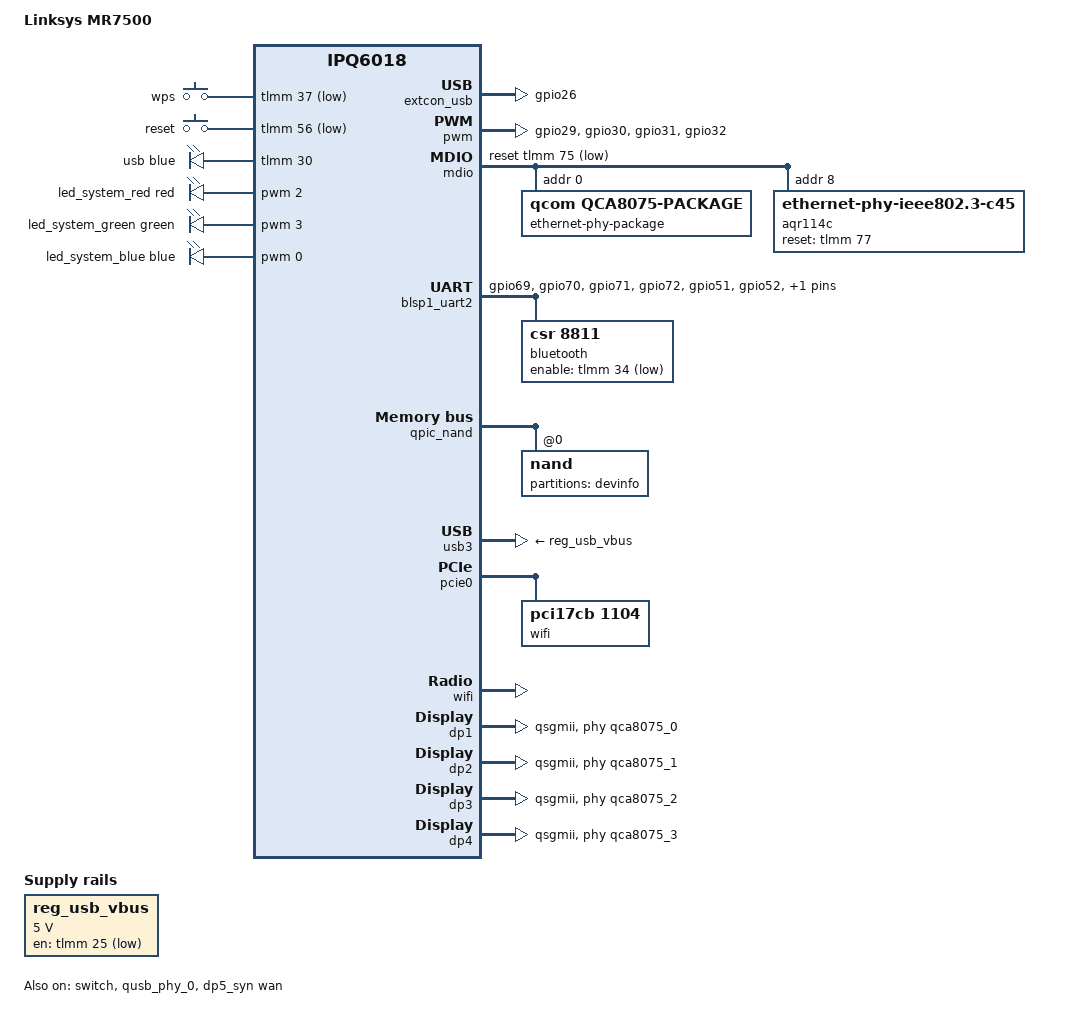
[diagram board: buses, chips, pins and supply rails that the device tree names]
// SPDX-License-Identifier: GPL-2.0-or-later OR MIT

/dts-v1/;

#include "ipq6018.dtsi"
#include "ipq6018-ess.dtsi"
#include "ipq6018-nss.dtsi"
#include "ipq6018-common.dtsi"
#include "ipq6018-cp-cpu.dtsi"

#include <dt-bindings/gpio/gpio.h>
#include <dt-bindings/input/input.h>
#include <dt-bindings/leds/common.h>

/ {
	model = "Linksys MR7500";
	compatible = "linksys,mr7500", "qcom,ipq6018";

	aliases {
		serial0 = &blsp1_uart3;
		serial1 = &blsp1_uart2;

		led-boot = &led_system_blue;
		led-running = &led_system_blue;
		led-failsafe = &led_system_red;
		led-upgrade = &led_system_green;

		label-mac-device = &dp5_syn;
	};

	chosen {
		stdout-path = "serial0:115200n8";
		bootargs-append = " root=/dev/ubiblock0_0";
	};

	extcon_usb {
		pinctrl-0 = <&extcon_usb_pins>;
		pinctrl-names = "default";
		id-gpios = <&tlmm 26 GPIO_ACTIVE_LOW>;
		status = "okay";
	};

	keys {
		compatible = "gpio-keys";

		wps {
			label = "wps";
			linux,code = <KEY_WPS_BUTTON>;
			gpios = <&tlmm 37 GPIO_ACTIVE_LOW>;
		};

		reset {
			label = "reset";
			linux,code = <KEY_RESTART>;
			gpios = <&tlmm 56 GPIO_ACTIVE_LOW>;
		};
	};

	leds {
		compatible = "pwm-leds";

		usb {
			color = <LED_COLOR_ID_BLUE>;
			function = LED_FUNCTION_USB;
			gpios = <&tlmm 30 GPIO_ACTIVE_HIGH>;
			pwms = <&pwm 1 650000>;
			max-brightness = <255>;
			trigger-sources = <&usb3_port1>, <&usb3_port2>;
			linux,default-trigger = "usbport";
		};

		led_system_red: system-red {
			color = <LED_COLOR_ID_RED>;
			function = LED_FUNCTION_INDICATOR;
			pwms = <&pwm 2 1250000>;
			max-brightness = <255>;
			panic-indicator;
		};

		led_system_green: system-green {
			color = <LED_COLOR_ID_GREEN>;
			function = LED_FUNCTION_INDICATOR;
			pwms = <&pwm 3 1250000>;
			max-brightness = <255>;
		};

		led_system_blue: system-blue {
			color = <LED_COLOR_ID_BLUE>;
			function = LED_FUNCTION_POWER;
			pwms = <&pwm 0 1250000>;
			max-brightness = <255>;
		};
	};

	reg_usb_vbus: regulator-usb-vbus {
		compatible = "regulator-fixed";
		regulator-name = "usb_vbus";
		regulator-min-microvolt = <5000000>;
		regulator-max-microvolt = <5000000>;
		gpios = <&tlmm 25 GPIO_ACTIVE_LOW>;
	};
};

&tlmm {
	btcoex_pins: btcoex-pins {
		mux_0 {
			pins = "gpio51";
			function = "pta1_1";
			drive-strength = <6>;
			bias-pull-down;
		};

		mux_1 {
			pins = "gpio52";
			function = "pta1_2";
			drive-strength = <6>;
			bias-pull-down;
		};

		mux_2 {
			pins = "gpio53";
			function = "pta1_0";
			drive-strength = <6>;
			bias-pull-down;
		};
	};

	extcon_usb_pins: extcon-usb-pins {
		pins = "gpio26";
		function = "gpio";
		drive-strength = <2>;
		bias-pull-down;
	};

	hsuart_pins: hsuart-pins {
		pins = "gpio69", "gpio70", "gpio71", "gpio72";
		function = "blsp1_uart";
		drive-strength = <8>;
		bias-disable;
	};

	pwm_pins: pwm-pins {
		/*LED_B*/
		mux_0 {
			pins = "gpio29";
			function = "pwm03";
			drive-strength = <8>;
			bias-pull-up;
		};

		/*LED_USB*/
		mux_1 {
			pins = "gpio30";
			function = "pwm13";
			drive-strength = <8>;
			bias-pull-down;
		};

		/*LED_R*/
		mux_2 {
			pins = "gpio31";
			function = "pwm23";
			drive-strength = <8>;
			bias-pull-down;
		};

		/*LED_G*/
		mux_3 {
			pins = "gpio32";
			function = "pwm33";
			drive-strength = <8>;
			bias-pull-down;
		};
	};
};

&pwm {
	pinctrl-0 = <&pwm_pins>;
	pinctrl-names = "default";
	#pwm-cells = <2>;
	status = "okay";
};

&mdio {
	pinctrl-0 = <&mdio_pins>;
	pinctrl-names = "default";
	reset-gpios = <&tlmm 75 GPIO_ACTIVE_LOW>;
	status = "okay";

	ethernet-phy-package {
		#address-cells = <1>;
		#size-cells = <0>;
		compatible = "qcom,qca8075-package";
		reg = <0>;

		qcom,package-mode = "qsgmii";

		qca8075_0: ethernet-phy@0 {
			compatible = "ethernet-phy-ieee802.3-c22";
			reg = <0>;

			leds {
				#address-cells = <1>;
				#size-cells = <0>;

				led@0 {
					reg = <0>;
					color = <LED_COLOR_ID_ORANGE>;
					function = LED_FUNCTION_LAN;
					default-state = "keep";
				};

				led@1 {
					reg = <1>;
					color = <LED_COLOR_ID_GREEN>;
					function = LED_FUNCTION_LAN;
					default-state = "keep";
				};
			};
		};

		qca8075_1: ethernet-phy@1 {
			compatible = "ethernet-phy-ieee802.3-c22";
			reg = <1>;

			leds {
				#address-cells = <1>;
				#size-cells = <0>;

				led@0 {
					reg = <0>;
					color = <LED_COLOR_ID_ORANGE>;
					function = LED_FUNCTION_LAN;
					default-state = "keep";
				};

				led@1 {
					reg = <1>;
					color = <LED_COLOR_ID_GREEN>;
					function = LED_FUNCTION_LAN;
					default-state = "keep";
				};
			};
		};

		qca8075_2: ethernet-phy@2 {
			compatible = "ethernet-phy-ieee802.3-c22";
			reg = <2>;

			leds {
				#address-cells = <1>;
				#size-cells = <0>;

				led@0 {
					reg = <0>;
					color = <LED_COLOR_ID_ORANGE>;
					function = LED_FUNCTION_LAN;
					default-state = "keep";
				};

				led@1 {
					reg = <1>;
					color = <LED_COLOR_ID_GREEN>;
					function = LED_FUNCTION_LAN;
					default-state = "keep";
				};
			};
		};

		qca8075_3: ethernet-phy@3 {
			compatible = "ethernet-phy-ieee802.3-c22";
			reg = <3>;

			leds {
				#address-cells = <1>;
				#size-cells = <0>;

				led@0 {
					reg = <0>;
					color = <LED_COLOR_ID_ORANGE>;
					function = LED_FUNCTION_LAN;
					default-state = "keep";
				};

				led@1 {
					reg = <1>;
					color = <LED_COLOR_ID_GREEN>;
					function = LED_FUNCTION_LAN;
					default-state = "keep";
				};
			};
		};
	};

	aqr114c: ethernet-phy@8 {
		reg = <8>;
		reset-gpios = <&tlmm 77 GPIO_ACTIVE_HIGH>;
		compatible = "ethernet-phy-ieee802.3-c45";
		firmware-name = "marvell/AQR114C.cld";

		leds {
			#address-cells = <1>;
			#size-cells = <0>;

			led@0 {
				reg = <0>;
				color = <LED_COLOR_ID_ORANGE>;
				function = LED_FUNCTION_WAN;
				default-state = "keep";
			};

			led@1 {
				reg = <1>;
				color = <LED_COLOR_ID_GREEN>;
				function = LED_FUNCTION_WAN;
				default-state = "keep";
			};
		};
	};
};

&switch {
	status = "okay";
	switch_lan_bmp = <( ESS_PORT1 | ESS_PORT2 | ESS_PORT3 | ESS_PORT4 )>;
	switch_wan_bmp = <ESS_PORT5>;
	switch_mac_mode = <MAC_MODE_QSGMII>;
	switch_mac_mode1 = <MAC_MODE_USXGMII>;

	qcom,port_phyinfo {
		port@1 {
			port_id = <1>;
			phy_address = <0>;
		};
		port@2 {
			port_id = <2>;
			phy_address = <1>;
		};
		port@3 {
			port_id = <3>;
			phy_address = <2>;
		};
		port@4 {
			port_id = <4>;
			phy_address = <3>;
		};
		port@5 {
			port_id = <5>;
			phy_address = <8>;
			compatible = "ethernet-phy-ieee802.3-c45";
			ethernet-phy-ieee802.3-c45;
		};
	};
};

&blsp1_uart2 {
	status = "okay";

	pinctrl-0 = <&hsuart_pins>, <&btcoex_pins>;
	pinctrl-names = "default";

	dmas = <&blsp_dma 2>, <&blsp_dma 3>;
	dma-names = "tx", "rx";

	// doesn't work
	bluetooth {
		compatible = "csr,8811";
		enable-gpios = <&tlmm 34 GPIO_ACTIVE_LOW>;
	};
};

&qpic_nand {
	status = "okay";

	nand@0 {
		reg = <0>;

		nand-ecc-strength = <4>;
		nand-ecc-step-size = <512>;
		nand-bus-width = <8>;

		partitions {
			compatible = "qcom,smem-part";

			partition-0-devinfo {
				#address-cells = <1>;
				#size-cells = <1>;

				label = "devinfo";
				read-only;

				nvmem-layout {
					compatible = "ascii-eq-delim-env";
					#address-cells = <1>;
					#size-cells = <1>;

					hw_mac_addr: hw_mac_addr {
						compatible = "mac-base";
						#nvmem-cell-cells = <1>;
					};
				};
			};
		};
	};
};

&dwc_0 {
	#address-cells = <1>;
	#size-cells = <0>;

	usb3_port1: port@1 {
		reg = <1>;
		#trigger-source-cells = <0>;
	};

	usb3_port2: port@2 {
		reg = <2>;
		#trigger-source-cells = <0>;
	};
};

&qusb_phy_0 {
	status = "okay";
	vdd-supply = <&reg_usb_vbus>;
};

&usb3 {
	status = "okay";
	vbus-supply = <&reg_usb_vbus>;
};

&pcie0 {
	status = "okay";

	pcie@0 {
		wifi@0,0 {
			status = "okay";
			compatible = "pci17cb,1104";
			qcom,ath11k-fw-memory-mode = <1>;
			qcom,ath11k-calibration-variant = "Linksys-MR7500";
			reg = <0x00010000 0 0 0 0>;
		};
	};
};

&wifi {
	status = "okay";
	qcom,ath11k-fw-memory-mode = <1>;
	qcom,ath11k-calibration-variant = "Linksys-MR7500";
};

&dp1 {
	status = "okay";
	label = "lan1";
	phy-handle = <&qca8075_0>;
	phy-mode = "qsgmii";
	nvmem-cells = <&hw_mac_addr 1>;
	nvmem-cell-names = "mac-address";
};

&dp2 {
	status = "okay";
	label = "lan2";
	phy-handle = <&qca8075_1>;
	phy-mode = "qsgmii";
	nvmem-cells = <&hw_mac_addr 1>;
	nvmem-cell-names = "mac-address";
};

&dp3 {
	status = "okay";
	label = "lan3";
	phy-handle = <&qca8075_2>;
	phy-mode = "qsgmii";
	nvmem-cells = <&hw_mac_addr 1>;
	nvmem-cell-names = "mac-address";
};

&dp4 {
	status = "okay";
	label = "lan4";
	phy-handle = <&qca8075_3>;
	phy-mode = "qsgmii";
	nvmem-cells = <&hw_mac_addr 1>;
	nvmem-cell-names = "mac-address";
};

&dp5_syn {
	status = "okay";
	label = "wan";
	phy-handle = <&aqr114c>;
	phy-mode = "usxgmii";
	nvmem-cells = <&hw_mac_addr 0>;
	nvmem-cell-names = "mac-address";
};

&edma {
	status = "okay";
};
